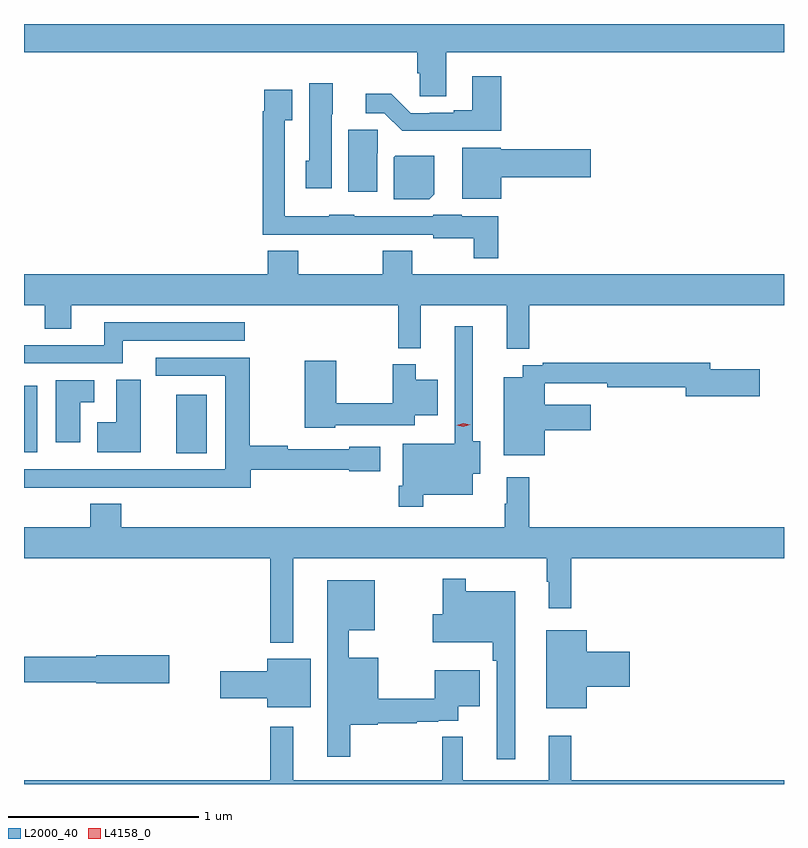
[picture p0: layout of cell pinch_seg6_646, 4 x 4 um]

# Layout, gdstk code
import gdstk
lib = gdstk.Library(unit=1e-6, precision=1e-09)
def R(c, l, rs):  # rectangles x0, y0, x1, y1
    for r in rs: c.add(gdstk.rectangle(r[:2], r[2:], *l))
def P(c, l, *ps):  # polygons
    for p in ps: c.add(gdstk.Polygon(p, *l))
L2000_40 = (2000, 40)
L4158_0 = (4158, 0)

pinch_seg6_646 = lib.new_cell('pinch_seg6_646')
R(pinch_seg6_646, L2000_40, [(460.808,925.246,460.969,925.555), (460.007,925.25,460.078,925.6)])
P(pinch_seg6_646, L2000_40, [(462.229,927.356),(464.007,927.356),(464.007,927.505),(460.007,927.505),(460.007,927.356),(462.077,927.356),(462.077,927.246),(462.09,927.246),(462.09,927.124),(462.229,927.124)],
  [(462.518,927.229),(462.365,927.229),(462.365,927.052),(462.269,927.052),(462.269,927.039),(462.142,927.039),(462.142,927.036),(462.042,927.036),(461.94,927.139),(461.805,927.139),(461.805,927.036),(461.904,927.036),(461.999,926.942),(462.518,926.942)],
  [(461.626,927.03),(461.632,927.03),(461.632,927.193),(461.507,927.193),(461.507,926.784),(461.489,926.784),(461.489,926.64),(461.626,926.64)],
  [(462.503,926.494),(462.312,926.494),(462.312,926.5),(462.162,926.5),(462.162,926.493),(461.745,926.493),(461.745,926.5),(461.613,926.5),(461.613,926.494),(461.379,926.494),(461.379,926.999),(461.419,926.999),(461.419,927.16),(461.271,927.16),(461.271,927.047),(461.263,927.047),(461.263,926.397),(461.513,926.397),(461.513,926.396),(461.745,926.396),(461.745,926.397),(462.162,926.397),(462.162,926.378),(462.375,926.378),(462.375,926.273),(462.503,926.273)],
  [(461.866,926.826),(461.87,926.826),(461.87,926.949),(461.714,926.949),(461.714,926.622),(461.866,926.622)],
  [(462.52,926.699),(462.991,926.699),(462.991,926.846),(462.516,926.846),(462.516,926.854),(462.314,926.854),(462.314,926.585),(462.52,926.585)],
  [(462.166,926.608),(462.166,926.812),(461.962,926.812),(461.954,926.804),(461.954,926.582),(462.14,926.582)],
  [(462.665,926.024),(464.007,926.024),(464.007,926.188),(462.051,926.188),(462.051,926.312),(461.896,926.312),(461.896,926.188),(461.451,926.188),(461.451,926.312),(461.291,926.312),(461.291,926.188),(460.007,926.188),(460.007,926.024),(460.115,926.024),(460.115,925.9),(460.255,925.9),(460.255,926.024),(461.977,926.024),(461.977,925.799),(462.095,925.799),(462.095,926.024),(462.548,926.024),(462.548,925.795),(462.665,925.795)],
  [(460.528,925.839),(461.17,925.839),(461.17,925.935),(460.43,925.935),(460.43,925.815),(460.007,925.815),(460.007,925.719),(460.528,925.719)],
  [(462.109,925.028),(462.37,925.028),(462.37,925.139),(462.409,925.139),(462.409,925.31),(462.37,925.31),(462.37,925.915),(462.273,925.915),(462.273,925.297),(462,925.297),(462,925.075),(461.98,925.075),(461.98,924.963),(462.109,924.963)],
  [(460.271,925.065),(460.603,925.065),(460.603,925.064),(461.201,925.064),(461.201,925.158),(461.718,925.158),(461.718,925.15),(461.881,925.15),(461.881,925.279),(461.718,925.279),(461.718,925.266),(461.396,925.266),(461.396,925.286),(461.196,925.286),(461.196,925.749),(460.7,925.749),(460.7,925.653),(461.066,925.653),(461.066,925.161),(460.007,925.161),(460.007,925.064),(460.271,925.064)],
  [(461.646,925.392),(462.064,925.392),(462.064,925.445),(462.184,925.445),(462.184,925.633),(462.07,925.633),(462.07,925.714),(461.948,925.714),(461.948,925.508),(461.65,925.508),(461.65,925.732),(461.485,925.732),(461.485,925.379),(461.646,925.379)],
  [(462.748,925.367),(462.991,925.367),(462.991,925.501),(462.748,925.501),(462.748,925.614),(463.078,925.614),(463.078,925.594),(463.49,925.594),(463.49,925.547),(463.879,925.547),(463.879,925.689),(463.618,925.689),(463.618,925.723),(462.736,925.723),(462.736,925.71),(462.632,925.71),(462.632,925.645),(462.533,925.645),(462.533,925.235),(462.748,925.235)],
  [(460.621,925.633),(460.493,925.633),(460.493,925.408),(460.392,925.408),(460.392,925.25),(460.621,925.25)],
  [(460.303,925.514),(460.378,925.514),(460.378,925.63),(460.175,925.63),(460.175,925.305),(460.303,925.305)],
  [(461.425,924.692),(462.759,924.692),(462.759,924.569),(462.77,924.569),(462.77,924.429),(462.887,924.429),(462.887,924.692),(464.007,924.692),(464.007,924.856),(462.665,924.856),(462.665,925.12),(462.548,925.12),(462.548,924.98),(462.537,924.98),(462.537,924.856),(460.52,924.856),(460.52,924.98),(460.355,924.98),(460.355,924.856),(460.007,924.856),(460.007,924.692),(461.304,924.692),(461.304,924.248),(461.425,924.248)],
  [(462.592,924.52),(462.331,924.52),(462.331,924.586),(462.21,924.586),(462.21,924.399),(462.158,924.399),(462.158,924.251),(462.475,924.251),(462.475,924.155),(462.495,924.155),(462.495,923.634),(462.592,923.634)],
  [(461.725,923.818),(461.868,923.818),(461.868,923.826),(462.074,923.826),(462.074,923.832),(462.188,923.832),(462.188,923.838),(462.292,923.838),(462.292,923.915),(462.406,923.915),(462.406,924.103),(462.17,924.103),(462.17,923.954),(461.872,923.954),(461.872,924.169),(461.717,924.169),(461.717,924.314),(461.854,924.314),(461.854,924.577),(461.603,924.577),(461.603,923.649),(461.725,923.649)],
  [(462.97,924.017),(463.195,924.017),(463.195,924.2),(462.97,924.2),(462.97,924.313),(462.755,924.313),(462.755,923.903),(462.97,923.903)],
  [(460.771,924.182),(460.386,924.182),(460.386,924.176),(460.007,924.176),(460.007,924.04),(460.386,924.04),(460.386,924.035),(460.771,924.035)],
  [(461.515,924.163),(461.288,924.163),(461.288,924.098),(461.04,924.098),(461.04,923.956),(461.288,923.956),(461.288,923.909),(461.515,923.909)],
  [(464.007,923.524),(462.887,923.524),(462.887,923.758),(462.77,923.758),(462.77,923.524),(462.317,923.524),(462.317,923.753),(462.208,923.753),(462.208,923.524),(461.425,923.524),(461.425,923.806),(461.304,923.806),(461.304,923.524),(460.007,923.524),(460.007,923.505),(464.007,923.505)])
P(pinch_seg6_646, L4158_0, [(462.32,925.384),(462.285,925.393),(462.284,925.393),(462.285,925.393),(462.32,925.404),(462.355,925.396),(462.355,925.396),(462.355,925.395)])

lib.write_gds('pinch_seg6_646.gds')
